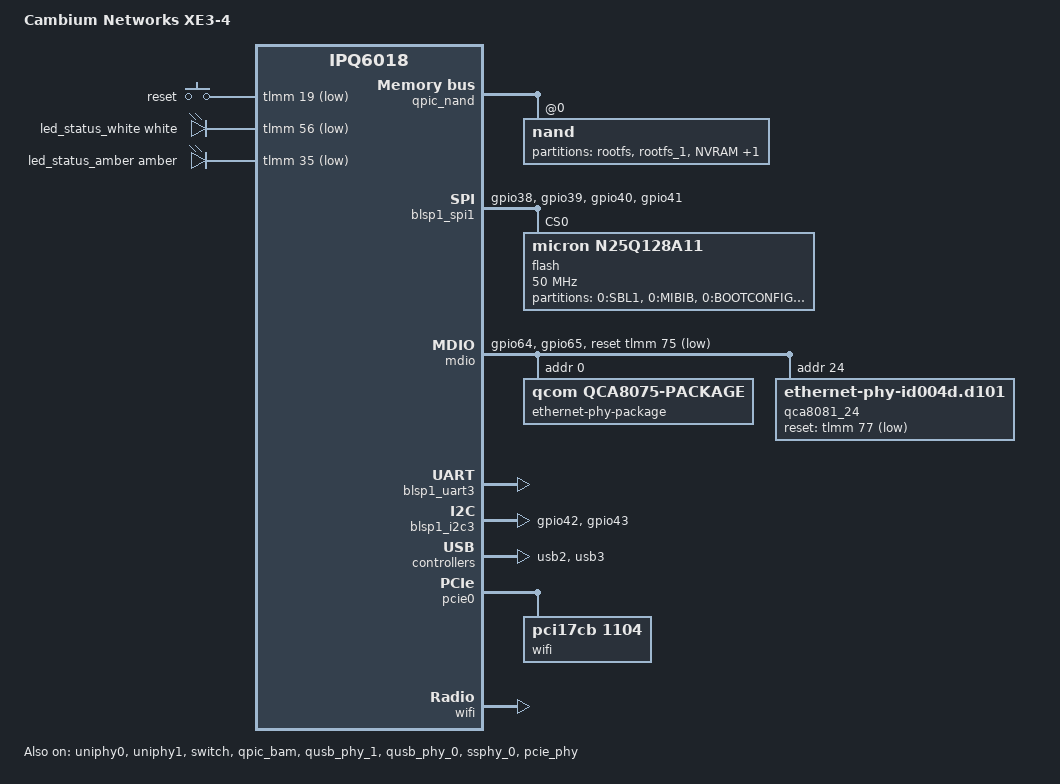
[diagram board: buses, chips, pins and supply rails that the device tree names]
// SPDX-License-Identifier: (GPL-2.0+)

/dts-v1/;

#include "ipq6018.dtsi"
#include "ipq6018-ess-cleanup.dtsi"
#include <dt-bindings/gpio/gpio.h>
#include <dt-bindings/input/input.h>
#include <dt-bindings/leds/common.h>

/ {
	/* Qualcomm Technologies, Inc. IPQ6018/AP-CP01-C1 */
	model = "Cambium Networks XE3-4";
	compatible = "cambiumnetworks,xe3-4", "qcom,ipq6018-cp01", "qcom,ipq6018";

	aliases {
		serial0 = &blsp1_uart3;
		ethernet0 = &lan1;
		ethernet1 = &lan2;
		label-mac-device = &lan1;

		led-boot = &led_status_amber;
		led-failsafe = &led_status_amber;
		led-running = &led_status_white;
		led-upgrade = &led_status_amber;
	};

	chosen {
		stdout-path = "serial0:115200n8";
		bootargs-append = " root=/dev/ubiblock0_1";
	};

	keys {
		compatible = "gpio-keys";

		reset {
			label = "reset";
			gpios = <&tlmm 19 GPIO_ACTIVE_LOW>;
			linux,code = <KEY_RESTART>;
		};
	};

	leds {
		compatible = "gpio-leds";
		pinctrl-0 = <&led_pins>;
		pinctrl-names = "default";

		led_status_white: status-white {
			color = <LED_COLOR_ID_WHITE>;
			function = LED_FUNCTION_STATUS;
			gpios = <&tlmm 56 GPIO_ACTIVE_LOW>;
		};

		led_status_amber: status-amber {
			color = <LED_COLOR_ID_AMBER>;
			function = LED_FUNCTION_STATUS;
			gpios = <&tlmm 35 GPIO_ACTIVE_LOW>;
		};
	};
};

&rpm {
	status = "disabled";
};

&tlmm {
	/* TZ has exclusive control over GPIO20 */
	gpio-reserved-ranges = <20 1>;

	mdio_pins: mdio-pins {
		mdc {
			pins = "gpio64";
			function = "mdc";
			drive-strength = <8>;
			bias-pull-up;
		};

		mdio {
			pins = "gpio65";
			function = "mdio";
			drive-strength = <8>;
			bias-pull-up;
		};
	};

	i2c_1_pins: i2c-1-state {
		pins = "gpio42", "gpio43";
		function = "blsp2_i2c";
		drive-strength = <8>;
	};

	spi_0_pins: spi-0-state {
		pins = "gpio38", "gpio39", "gpio40", "gpio41";
		function = "blsp0_spi";
		drive-strength = <8>;
		bias-pull-down;
	};

	led_pins: led_pins {
		leds {
			pins = "gpio35", "gpio37", "gpio50";
			function = "gpio";
			drive-strength = <8>;
			bias-pull-down;
		};
	};
};

&qpic_nand {
	status = "okay";

	nand@0 {
		reg = <0>;

		nand-ecc-strength = <4>;
		nand-ecc-step-size = <512>;
		nand-bus-width = <8>;

		partitions {
			compatible = "fixed-partitions";
			#address-cells = <1>;
			#size-cells = <1>;

			partition@0 {
				label = "rootfs";
				reg = <0x0 0x6000000>;
			};

			partition@6000000 {
				label = "rootfs_1";
				reg = <0x6000000 0x6000000>;
			};

			partition@c000000 {
				label = "NVRAM";
				reg = <0xc000000 0x3000000>;
			};

			partition@f000000 {
				label = "crashLog";
				reg = <0xf000000 0x1000000>;
			};
		};
	};
};

&blsp1_spi1 {
	pinctrl-0 = <&spi_0_pins>;
	pinctrl-names = "default";
	status = "okay";

	flash@0 {
		reg = <0>;
		/*
		 * U-boot looks for "n25q128a11" node,
		 * if we don't have it, it will spit out the following warning:
		 * "ipq: fdt fixup unable to find compatible node".
		 */
		linux,modalias = "m25p80", "mx30uf2g18ac", "n25q128a11";
		compatible = "micron,n25q128a11", "jedec,spi-nor";
		spi-max-frequency = <50000000>;

		partitions {
			compatible = "fixed-partitions";
			#address-cells = <1>;
			#size-cells = <1>;

			partition@0 {
				label = "0:SBL1";
				reg = <0x0 0xc0000>;
				read-only;
			};

			partition@c0000 {
				label = "0:MIBIB";
				reg = <0xc0000 0x10000>;
				read-only;
			};

			partition@d0000 {
				label = "0:BOOTCONFIG";
				reg = <0xd0000 0x20000>;
				read-only;
			};

			partition@f0000 {
				label = "0:BOOTCONFIG1";
				reg = <0xf0000 0x20000>;
				read-only;
			};

			partition@110000 {
				label = "0:QSEE";
				reg = <0x110000 0x1a0000>;
				read-only;
			};

			partition@2b0000 {
				label = "0:QSEE_1";
				reg = <0x2b0000 0x1a0000>;
				read-only;
			};

			partition@450000 {
				label = "0:DEVCFG";
				reg = <0x450000 0x10000>;
				read-only;
			};

			partition@460000 {
				label = "mfginfo";
				reg = <0x460000 0x10000>;
				read-only;
			};

			partition@470000 {
				label = "0:RPM";
				reg = <0x470000 0x40000>;
				read-only;
			};

			partition@4b0000 {
				label = "0:RPM_1";
				reg = <0x4b0000 0x40000>;
				read-only;
			};

			partition@4f0000 {
				label = "0:CDT";
				reg = <0x4f0000 0x10000>;
				read-only;
			};

			partition@500000 {
				label = "0:CDT_1";
				reg = <0x500000 0x10000>;
				read-only;
			};

			partition@510000 {
				label = "0:APPSBLENV";
				reg = <0x510000 0x10000>;

				nvmem-layout {
					compatible = "u-boot,env";

					macaddr_lan1: ethaddr {
						#nvmem-cell-cells = <0>;
					};

					macaddr_lan2: eth1addr {
						#nvmem-cell-cells = <0>;
					};

					macaddr_wifi1: eth2addr {
						#nvmem-cell-cells = <0>;
					};

					macaddr_wifi2: eth5addr {
						#nvmem-cell-cells = <0>;
					};
				};
			};

			partition@520000 {
				label = "0:APPSBL";
				reg = <0x520000 0xa0000>;
				read-only;
			};

			partition@5c0000 {
				label = "0:APPSBL_1";
				reg = <0x5c0000 0xa0000>;
				read-only;
			};

			partition@660000 {
				label = "0:ART";
				reg = <0x660000 0x80000>;
				read-only;
			};
		};
	};
};

&mdio {
	status = "okay";

	pinctrl-0 = <&mdio_pins>;
	pinctrl-names = "default";
	reset-gpios = <&tlmm 75 GPIO_ACTIVE_LOW>;

	ethernet-phy-package@0 {
		#address-cells = <1>;
		#size-cells = <0>;
		compatible = "qcom,qca8075-package";
		reg = <0>;

		qcom,package-mode = "psgmii";

		qca8072_3: ethernet-phy@3 {
			compatible = "ethernet-phy-ieee802.3-c22";
			reg = <3>;
		};
	};

	qca8081_24: ethernet-phy@24 {
		compatible = "ethernet-phy-id004d.d101";
		reg = <24>;
		reset-deassert-us = <10000>;
		reset-gpios = <&tlmm 77 GPIO_ACTIVE_LOW>;
	};
};

/* Port dp4 */
&uniphy0 {
	status = "okay";
};

/* Port dp5 */
&uniphy1 {
	status = "okay";
};

&switch {
	status = "okay";

	ports {
		#address-cells = <1>;
		#size-cells = <0>;

		port@0 {
			reg = <0>;
			ethernet = <&edma>;
			phy-mode = "internal";

			fixed-link {
				speed = <1000>;
				full-duplex;
			};
		};

		lan2: port@4 {
			reg = <4>;
			label = "lan2";
			phy-handle = <&qca8072_3>;
			phy-mode = "psgmii";
			pcs-handle = <&uniphy0 0>;
		};

		lan1: port@5 {
			reg = <5>;
			label = "lan1";
			phy-handle = <&qca8081_24>;
			phy-mode = "sgmii";
			pcs-handle = <&uniphy1 0>;
		};
	};
};

&edma {
	status = "okay";
};

&qpic_bam {
	status = "okay";
};

&blsp1_uart3 {
	pinctrl-0 = <&serial_3_pins>;
	pinctrl-names = "default";
	status = "okay";
};

&blsp1_i2c3 {
	pinctrl-0 = <&i2c_1_pins>;
	pinctrl-names = "default";
	status = "okay";
};

&qusb_phy_1 {
	status = "okay";
};

&usb2 {
	status = "okay";
};

&qusb_phy_0 {
	status = "okay";
};

&ssphy_0 {
	status = "okay";
};

&usb3 {
	status = "okay";
};

&pcie_phy {
	status = "okay";
};

&pcie0 {
	status = "okay";
	perst-gpios = <&tlmm 60 GPIO_ACTIVE_LOW>;

	pcie@0 {
		wifi@0,0 {
			status = "okay";

			/* ath11k has no DT compatible for PCI cards */
			compatible = "pci17cb,1104";
			reg = <0x00010000 0 0 0 0>;

			qcom,ath11k-fw-memory-mode = <0>;
			qcom,ath11k-calibration-variant = "CambiumNetworks-XE34";
		};
	};
};

&wifi {
	status = "okay";
	qcom,ath11k-calibration-variant = "CambiumNetworks-XE34";

	nvmem-cell-names = "mac-address";
	nvmem-cells = <&macaddr_wifi2>;
};
